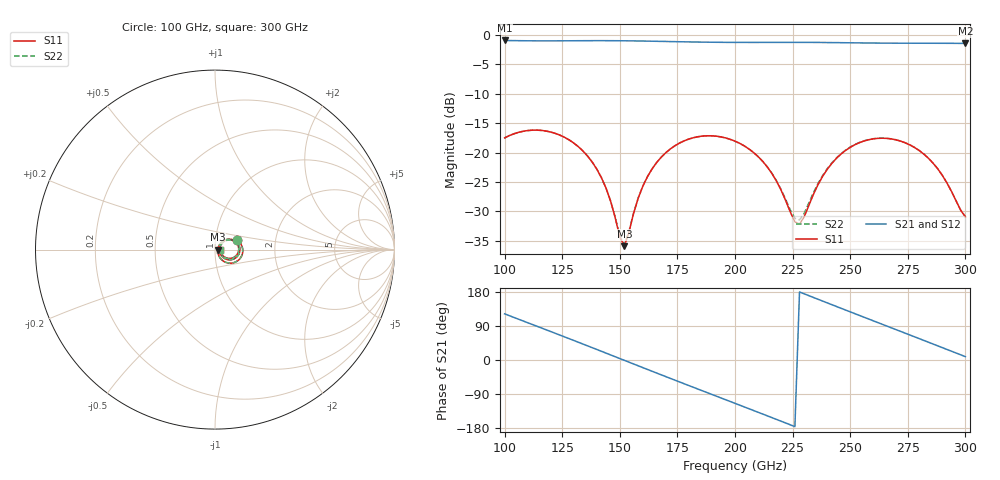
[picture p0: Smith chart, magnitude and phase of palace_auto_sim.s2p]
#  GHZ S DB R 50
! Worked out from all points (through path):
!   101 points, 100 GHz to 300 GHz, reference 50 ohm
!   highest |S21| = -0.96 dB at 100 GHz (marker M1); lowest = -1.5 dB at 300 GHz (marker M2)
!   group delay of S21, straight-line fit = 6.57 ps
!   lowest |S11| = -35.9 dB at 152 GHz (marker M3), VSWR 1.03, Z = 51.6 + j0.018 ohm
!   |S11| at or under -10 dB: start of sweep to end of sweep
!   |S22| runs from -35.7 to -16.2 dB; largest |S21 - S12| = 1e-13
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100  -17.51 23.2  -0.96 121.8  -0.96 121.8  -17.52 23.3
116  -16.24 -9.9  -1.03 84.5  -1.03 84.5  -16.25 -9.8
124  -17.04 -26.5  -1.03 65.8  -1.03 65.8  -17.05 -26.4
134  -19.74 -46.2  -1.01 42.1  -1.01 42.1  -19.74 -46.0
144  -26.03 -58.9  -1.00 18.2  -1.00 18.2  -26.01 -58.4
150  -34.35 -34.8  -1.01 3.8  -1.01 3.8  -34.19 -34.0
152  -35.91 0.6  -1.02 -1.0  -1.02 -1.0  -35.67 0.5
160  -25.71 48.8  -1.06 -20.1  -1.06 -20.1  -25.70 48.3
168  -20.78 39.1  -1.12 -39.2  -1.12 -39.2  -20.79 38.9
184  -17.31 9.0  -1.23 -76.9  -1.23 -76.9  -17.32 9.0
200  -18.07 -21.4  -1.29 -114.4  -1.29 -114.4  -18.08 -21.1
214  -22.44 -42.5  -1.29 -147.3  -1.29 -147.3  -22.43 -41.4
226  -31.77 -15.7  -1.29 -175.8  -1.29 -175.8  -31.18 -13.7
228  -32.17 5.7  -1.29 179.5  -1.29 179.5  -31.45 5.8
234  -27.14 41.6  -1.30 165.1  -1.30 165.1  -26.85 39.4
240  -22.88 42.4  -1.32 150.8  -1.32 150.8  -22.76 40.6
248  -19.64 31.4  -1.35 131.8  -1.35 131.8  -19.59 30.1
258  -17.83 13.2  -1.39 108.2  -1.39 108.2  -17.80 12.1
268  -17.70 -6.0  -1.42 84.6  -1.42 84.6  -17.68 -6.9
276  -18.73 -20.7  -1.43 65.8  -1.43 65.8  -18.71 -21.5
286  -21.82 -35.5  -1.44 42.1  -1.44 42.1  -21.81 -36.2
300  -30.93 -6.2  -1.46 8.8  -1.46 8.8  -30.88 -6.9
